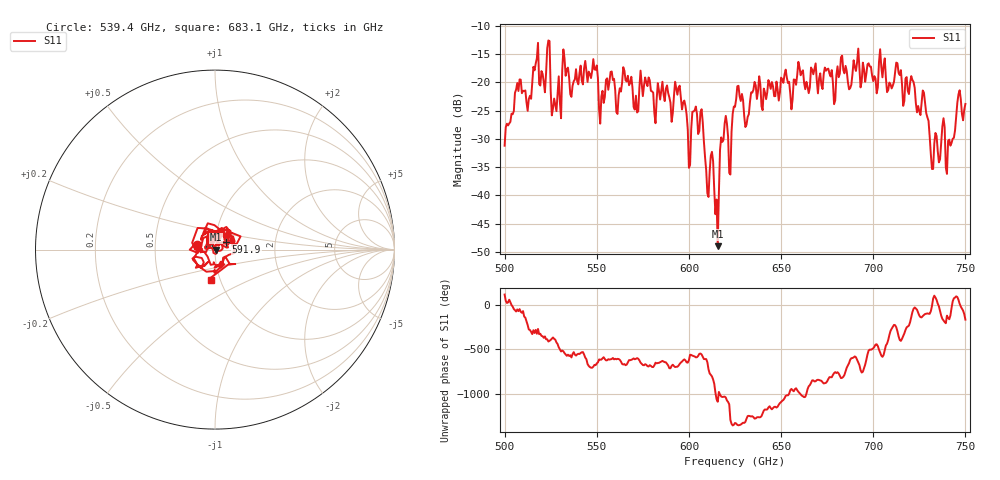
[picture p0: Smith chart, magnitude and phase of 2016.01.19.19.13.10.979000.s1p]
!Created with skrf (http://scikit-rf.org).
# GHz S RI R 50.0
!freq ReS11 ImS11
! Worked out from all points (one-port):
!   401 points, 500 GHz to 750 GHz, reference 50 ohm
!   lowest |S11| = -49.0 dB at 615.6 GHz (marker M1), VSWR 1.01, Z = 50.4 - j0.0424 ohm
!   |S11| at or under -10 dB: start of sweep to end of sweep
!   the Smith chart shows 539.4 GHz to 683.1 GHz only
!   S11 on the Smith chart (normalised r, x): 539.4 GHz: 0.82, +0.04; 591.9 GHz: 1.13, +0.10; 683.1 GHz: 0.90, -0.32
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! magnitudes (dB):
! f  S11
! 500 GHz  -31.2
! 507.5 GHz  -21.5
! 513.1 GHz  -23.0
! 516.9 GHz  -16.7
! 523.8 GHz  -12.6
! 526.9 GHz  -22.9
! 531.2 GHz  -17.9
! 539.4 GHz  -19.8
! 562.5 GHz  -21.1
! 591.9 GHz  -22.4
! 593.8 GHz  -22.2
! 600 GHz  -35.1
! 603.1 GHz  -25.0
! 606.9 GHz  -24.8
! 610 GHz  -39.6
! 612.5 GHz  -32.3
! 615.6 GHz  -49.0
! 618.8 GHz  -30.2
! 622.5 GHz  -36.3
! 625 GHz  -24.3
! 656.2 GHz  -23.0
! 683.1 GHz  -15.3
! 687.5 GHz  -21.0
! 690.6 GHz  -18.0
! 718.8 GHz  -21.5
! 728.1 GHz  -23.7
! 731.9 GHz  -35.3
! 750 GHz  -23.8
